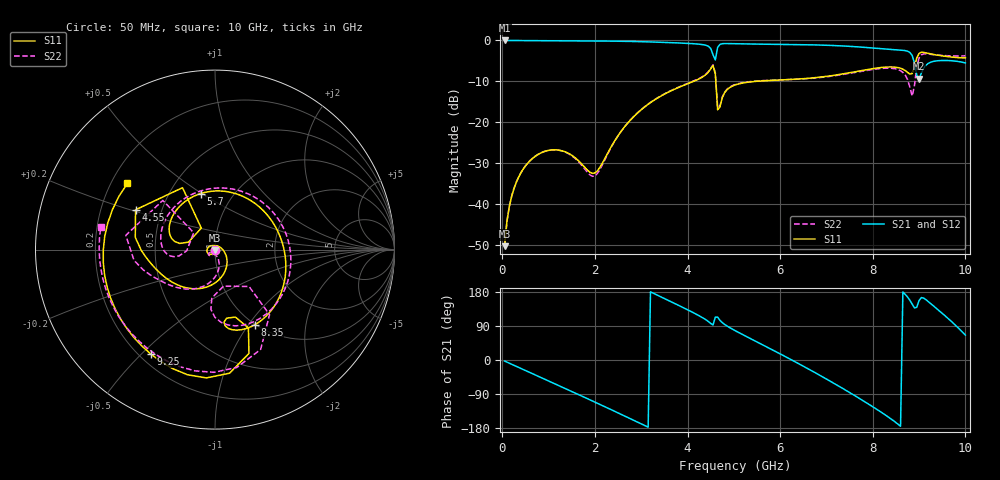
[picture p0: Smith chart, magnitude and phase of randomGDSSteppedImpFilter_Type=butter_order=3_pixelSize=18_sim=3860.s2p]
! freq	dB(S11)	phase(S11)	dB(S12)	phase(S12)
!  dB(S21)	phase(S21)	dB(S22)	phase(S22)
!S-par simulation data
#  GHz  S  DB  R 50
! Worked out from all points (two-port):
!   200 points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, 50 MHz to 10 GHz, reference 50 ohm
!   highest |S21| = -0.01 dB at 50 MHz (marker M1); lowest = -9.4 dB at 9 GHz (marker M2)
!   |S21| within 3 dB of the highest: start of sweep to 4.534 GHz; 4.629 GHz to 8.805 GHz (4.177 GHz wide, 62.2 % of centre)
!   lowest |S11| = -50.3 dB at 50 MHz (marker M3), VSWR 1.01, Z = 50 - j0.306 ohm
!   |S11| at or under -10 dB: start of sweep to 4.131 GHz; 4.61 GHz to 5.48 GHz (869.3 MHz wide, 17.2 % of centre)
!   |S22| runs from -50.3 to -3.3 dB; largest |S21 - S12| = 0
!   S11 on the Smith chart (normalised r, x): 50 MHz: 1.00, -0.01; 4.55 GHz: 0.35, +0.21; 5.7 GHz: 0.71, +0.50; 8.35 GHz: 0.99, -1.07; 9.25 GHz: 0.24, -0.53; 10 GHz: 0.27, +0.31
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0.05  -50.29 -91.1  -0.01 -2.8  -0.01 -2.8  -50.27 -90.3
0.25  -36.29 -104.8  -0.02 -13.9  -0.02 -13.9  -36.26 -100.5
0.6  -29.40 -128.5  -0.05 -33.3  -0.05 -33.3  -29.36 -117.7
1.2  -26.78 -171.7  -0.09 -66.4  -0.09 -66.4  -26.80 -143.3
1.75  -30.64 127.3  -0.12 -97.0  -0.12 -97.0  -31.01 -145.2
2.05  -31.92 51.1  -0.14 -113.9  -0.14 -113.9  -32.57 -98.7
2.65  -20.98 -41.6  -0.22 -148.2  -0.22 -148.2  -20.98 -74.8
3.4  -13.76 -98.7  -0.44 168.2  -0.44 168.2  -13.70 -105.3
4.2  -9.66 -155.3  -0.86 120.1  -0.86 120.1  -9.57 -145.4
4.55  -6.11 153.4  -3.48 92.4  -3.48 92.4  -5.97 170.9
4.6  -8.19 117.7  -4.79 113.0  -4.79 113.0  -7.96 136.7
4.65  -16.95 122.5  -1.69 113.2  -1.69 113.2  -16.40 141.6
5.05  -10.80 151.5  -0.81 76.0  -0.81 76.0  -10.71 178.5
5.7  -9.83 104.2  -0.92 35.2  -0.92 35.2  -9.78 145.3
6.7  -9.16 35.3  -1.08 -29.7  -1.08 -29.7  -9.24 84.6
7.55  -7.79 -14.7  -1.48 -89.5  -1.48 -89.5  -7.94 16.4
8.35  -6.48 -62.2  -2.17 -151.7  -2.17 -151.7  -6.78 -55.9
8.85  -8.11 -73.2  -3.67 147.5  -3.67 147.5  -13.60 -76.9
9  -3.18 -83.3  -9.37 157.1  -9.37 157.1  -4.27 -65.4
9.25  -3.31 -121.5  -5.33 148.9  -5.33 148.9  -3.40 -113.2
9.65  -4.00 -166.9  -4.93 107.1  -4.93 107.1  -3.76 -155.5
10  -4.27 142.9  -5.49 65.7  -5.49 65.7  -3.75 168.6
